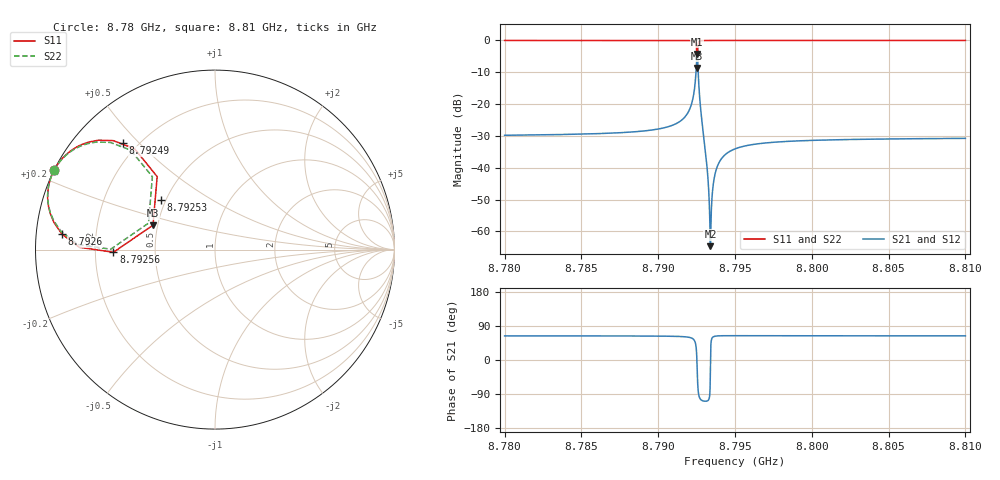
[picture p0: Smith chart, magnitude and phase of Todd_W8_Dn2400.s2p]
! Sonnet Data File
! From: emgraph Version : 16.52
! From Project: transmon_brgOdd
! Data is De-embedded
! Data File Written: 11/12/2017 17:05:33
!< HDATE 11/11/2017 22:57:51
!< MDATE 11/11/2017 22:57:51
!< PARAMS
!< Lj = 15.24
!< Gap = 6.0
!< Width = 10.0
!< Airgap = 6.0
!< Pwidth = 2000.0
!< Dist = 2400.0
!< END PARAMS
# GHZ S MA R 34.67000
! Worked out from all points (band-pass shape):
!   3001 points, 8.78 GHz to 8.81 GHz, reference 34.67 ohm
!   highest |S21| = -4.21 dB at 8.79254 GHz (marker M1); lowest = -64.6 dB at 8.7934 GHz (marker M2)
!   |S21| within 3 dB of the highest: 8.792492 GHz to 8.792578 GHz (85.17 kHz wide, 0.000969 % of centre)
!   lowest |S11| = -8.6 dB at 8.79254 GHz (marker M3), VSWR 2.18, Z = 16.3 + j5.16 ohm
!   |S11| at or under -10 dB: nowhere
!   |S22| runs from -8.0 to 0.0 dB; largest |S21 - S12| = 0
!   S11 on the Smith chart (normalised r, x): 8.78 GHz: 0.00, +0.24; 8.79249 GHz: 0.15, +0.45; 8.79253 GHz: 0.47, +0.31; 8.79256 GHz: 0.28, -0.01; 8.7926 GHz: 0.08, +0.05; 8.81 GHz: 0.00, +0.23
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8.78  0.9995 153.5  0.03242 63.6  0.03242 63.6  0.9995 153.8
!< P1 F=8.78 Eeff=(5.13743391 -5.7017e-5) Z0=(34.6430374 -9.7216e-5) R=0.0 C=0.0
!< P2 F=8.78 Eeff=(5.13743391 -5.7017e-5) Z0=(34.6430374 -9.7216e-5) R=0.0 C=0.0
8.785  0.9994 153.4  0.03382 63.5  0.03382 63.5  0.9994 153.7
8.79  0.9991 153.0  0.04065 63.0  0.04065 63.0  0.9991 153.3
8.79185  0.9968 151.4  0.06808 60.8  0.06808 60.8  0.9968 151.7
8.79221  0.9901 149.0  0.1087 57.2  0.1087 57.2  0.9903 149.4
8.79237  0.9693 144.9  0.179 50.6  0.179 50.6  0.9699 145.5
8.79249  0.7834 130.8  0.4251 24.0  0.4251 24.0  0.7891 132.3
8.79253  0.4092 137.7  0.6089 -13.0  0.6089 -13.0  0.4332 139.6
8.79254  0.3713 158.5  0.6156 -26.4  0.6156 -26.4  0.3988 158.3
8.79256  0.5661 -178.5  0.5393 -51.4  0.5393 -51.4  0.581 179.8
8.7926  0.8579 174.2  0.3267 -80.3  0.3267 -80.3  0.8619 173.4
8.79276  0.9877 160.4  0.08603 -104.0  0.08603 -104.0  0.9881 160.3
8.79314  0.9987 156.1  0.01295 -108.6  0.01295 -108.6  0.9988 156.3
8.7933  0.9992 155.6  0.003887 -103.5  0.003887 -103.5  0.9993 155.8
8.7934  0.9994 155.4  0.0005879 -9.8  0.0005879 -9.8  0.9994 155.5
8.7935  0.9995 155.2  0.003326 57.4  0.003326 57.4  0.9995 155.4
8.79368  0.9996 154.9  0.007576 62.6  0.007576 62.6  0.9997 155.1
8.7939  0.9997 154.7  0.01126 63.7  0.01126 63.7  0.9997 154.9
8.795  0.9997 154.2  0.01982 64.1  0.01982 64.1  0.9997 154.4
8.8  0.9996 153.8  0.02695 63.9  0.02695 63.9  0.9996 154.0
8.805  0.9996 153.7  0.02837 63.8  0.02837 63.8  0.9996 153.9
8.81  0.9996 153.6  0.029 63.8  0.029 63.8  0.9996 153.9
